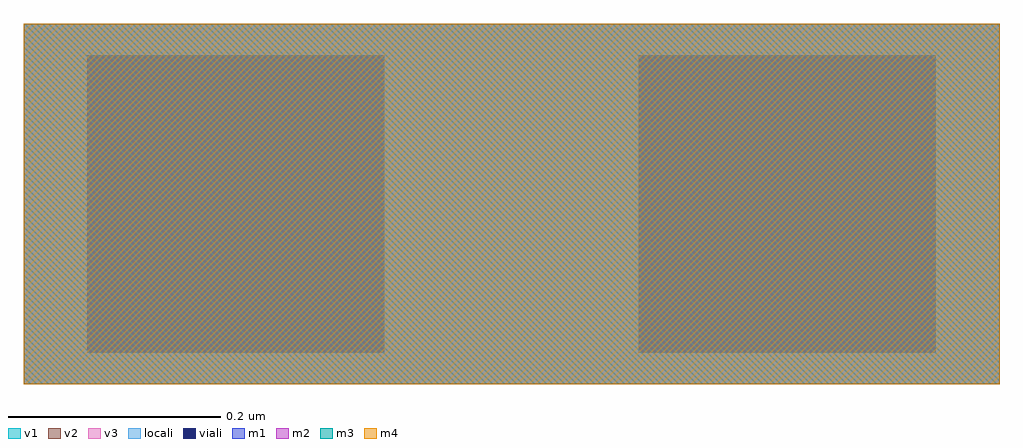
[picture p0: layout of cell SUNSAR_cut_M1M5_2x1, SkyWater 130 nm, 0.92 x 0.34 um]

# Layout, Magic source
magic
tech sky130A
magscale 1 2
<< locali >>
rect 0 0 184 68
<< viali >>
rect 12 6 68 62
rect 116 6 172 62
<< m1 >>
rect 0 0 184 68
<< v1 >>
rect 12 6 68 62
rect 116 6 172 62
<< m2 >>
rect 0 0 184 68
<< v2 >>
rect 12 6 68 62
rect 116 6 172 62
<< m3 >>
rect 0 0 184 68
<< v3 >>
rect 12 6 68 62
rect 116 6 172 62
<< m4 >>
rect 0 0 184 68
<< labels >>
<< properties >>
string FIXED_BBOX 0 0 184 68
<< end >>
